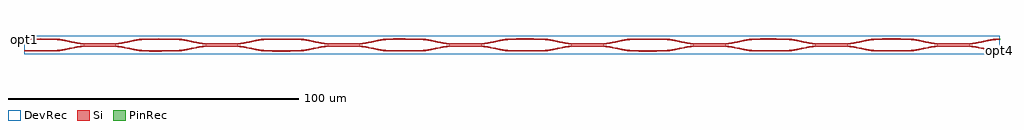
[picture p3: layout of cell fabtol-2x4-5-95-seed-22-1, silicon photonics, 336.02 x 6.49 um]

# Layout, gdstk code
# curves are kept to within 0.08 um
import gdstk
lib = gdstk.Library(unit=1e-6, precision=1e-09)
def R(c, l, rs):  # rectangles x0, y0, x1, y1
    for r in rs: c.add(gdstk.rectangle(r[:2], r[2:], *l))
def P(c, l, *ps):  # polygons
    for p in ps: c.add(gdstk.Polygon(p, *l))
Si = (1, 0)
PinRec = (1, 10)
DevRec = (68, 0)

layer_3_0_phase_sec_3_31 = lib.new_cell('layer-3_0_phase_sec_3$31')
P(layer_3_0_phase_sec_3_31, Si, [(2.187,-0.231),(0,-0.225),(0,0.225),(10,0.225),(10,-0.225)])

layer_3_0_phase_sec_2_31 = lib.new_cell('layer-3_0_phase_sec_2$31')
P(layer_3_0_phase_sec_2_31, Si, [(1.555,-0.248),(0,-0.225),(0,0.225),(10,0.225),(10,-0.225)])

layer_3_0_phase_sec_1_31 = lib.new_cell('layer-3_0_phase_sec_1$31')
P(layer_3_0_phase_sec_1_31, Si, [(5.67,-0.229),(0,-0.225),(0,0.225),(10,0.225),(10,-0.225)])

layer_3_0_phase_sec_0_31 = lib.new_cell('layer-3_0_phase_sec_0$31')
P(layer_3_0_phase_sec_0_31, Si, [(4.19,-0.249),(0,-0.225),(0,0.225),(10,0.225),(10,-0.225)])

layer_2_0_phase_sec_0_31 = lib.new_cell('layer-2_0_phase_sec_0$31')
P(layer_2_0_phase_sec_0_31, Si, [(6.013,-0.248),(0,-0.225),(0,0.225),(10,0.225),(10,-0.225)])

layer_0_0_phase_sec_0_31 = lib.new_cell('layer-0_0_phase_sec_0$31')
P(layer_0_0_phase_sec_0_31, Si, [(5.747,-0.241),(0,-0.225),(0,0.225),(10,0.225),(10,-0.225)])

layer_0_0_phase_sec_1_31 = lib.new_cell('layer-0_0_phase_sec_1$31')
P(layer_0_0_phase_sec_1_31, Si, [(2.104,-0.229),(0,-0.225),(0,0.225),(10,0.225),(10,-0.225)])

dc_arm_down_31 = lib.new_cell('dc_arm_down$31')
R(dc_arm_down_31, Si, [(12,-0.55,20,-0.1)])
P(dc_arm_down_31, Si, [(32,-2.225),(30.861,-2.188),(29.344,-2.033),(22.966,-0.793),(21.481,-0.613),(20,-0.55),(20,-0.1),(21.139,-0.137),(22.656,-0.292),(29.034,-1.532),(30.519,-1.712),(32,-1.775)],
  [(0,-2.225),(0,-1.775),(1.481,-1.712),(2.966,-1.532),(9.344,-0.292),(10.861,-0.137),(12,-0.1),(12,-0.55),(10.519,-0.613),(9.034,-0.793),(2.656,-2.033),(1.139,-2.188)])

dc_arm_up_31 = lib.new_cell('dc_arm_up$31')
R(dc_arm_up_31, Si, [(12,0.1,20,0.55)])
P(dc_arm_up_31, Si, [(20,0.1),(20,0.55),(21.481,0.613),(22.966,0.793),(29.344,2.033),(30.861,2.188),(32,2.225),(32,1.775),(30.519,1.712),(29.034,1.532),(22.656,0.292),(21.139,0.137)],
  [(12,0.1),(10.861,0.137),(9.344,0.292),(2.966,1.532),(1.481,1.712),(0,1.775),(0,2.225),(1.139,2.188),(2.656,2.033),(9.034,0.793),(10.519,0.613),(12,0.55)])

dc_31 = lib.new_cell('dc$31')
dc_31.add(gdstk.Reference(dc_arm_down_31, (0,0)))
dc_31.add(gdstk.Reference(dc_arm_up_31, (0,0)))

layer_0_0_phase_sec_2_31 = lib.new_cell('layer-0_0_phase_sec_2$31')
P(layer_0_0_phase_sec_2_31, Si, [(4.317,-0.24),(0,-0.225),(0,0.225),(10,0.225),(10,-0.225)])

layer_0_0_phase_sec_3_31 = lib.new_cell('layer-0_0_phase_sec_3$31')
P(layer_0_0_phase_sec_3_31, Si, [(1.088,-0.239),(0,-0.225),(0,0.225),(10,0.225),(10,-0.225)])

layer_1_0_phase_sec_0_31 = lib.new_cell('layer-1_0_phase_sec_0$31')
P(layer_1_0_phase_sec_0_31, Si, [(7.041,-0.236),(0,-0.225),(0,0.225),(10,0.225),(10,-0.225)])

layer_2_0_phase_sec_1_31 = lib.new_cell('layer-2_0_phase_sec_1$31')
P(layer_2_0_phase_sec_1_31, Si, [(1.065,-0.232),(0,-0.225),(0,0.225),(10,0.225),(10,-0.225)])

layer_1_0_phase_sec_1_31 = lib.new_cell('layer-1_0_phase_sec_1$31')
P(layer_1_0_phase_sec_1_31, Si, [(4.561,-0.245),(0,-0.225),(0,0.225),(10,0.225),(10,-0.225)])

layer_2_0_phase_sec_2_31 = lib.new_cell('layer-2_0_phase_sec_2$31')
P(layer_2_0_phase_sec_2_31, Si, [(4.448,-0.236),(0,-0.225),(0,0.225),(10,0.225),(10,-0.225)])

layer_1_0_phase_sec_2_31 = lib.new_cell('layer-1_0_phase_sec_2$31')
P(layer_1_0_phase_sec_2_31, Si, [(5.272,-0.246),(0,-0.225),(0,0.225),(10,0.225),(10,-0.225)])

layer_2_0_phase_sec_3_31 = lib.new_cell('layer-2_0_phase_sec_3$31')
P(layer_2_0_phase_sec_3_31, Si, [(4.735,-0.243),(0,-0.225),(0,0.225),(10,0.225),(10,-0.225)])

layer_1_0_phase_sec_3_31 = lib.new_cell('layer-1_0_phase_sec_3$31')
P(layer_1_0_phase_sec_3_31, Si, [(2.25,-0.232),(0,-0.225),(0,0.225),(10,0.225),(10,-0.225)])

fabtol_2x4_5_95_seed_22_ = lib.new_cell('fabtol-2x4-5-95-seed-22-1')
R(fabtol_2x4_5_95_seed_22_, DevRec, [(0,-1,336,5.494)])
fabtol_2x4_5_95_seed_22_.add(gdstk.FlexPath([(335.99,0.245),(336.01,0.245)], 0.45, ends="flush", simple_path=True, layer=1, datatype=10))  # PinRec
fabtol_2x4_5_95_seed_22_.add(gdstk.FlexPath([(335.99,4.245),(336.01,4.245)], 0.45, ends="flush", simple_path=True, layer=1, datatype=10))  # PinRec
fabtol_2x4_5_95_seed_22_.add(gdstk.FlexPath([(0.01,4.245),(-0.01,4.245)], 0.45, ends="flush", simple_path=True, layer=1, datatype=10))  # PinRec
fabtol_2x4_5_95_seed_22_.add(gdstk.Reference(layer_3_0_phase_sec_3_31, (294,0.245)))
fabtol_2x4_5_95_seed_22_.add(gdstk.Reference(layer_3_0_phase_sec_2_31, (294,4.245)))
fabtol_2x4_5_95_seed_22_.add(gdstk.Reference(layer_3_0_phase_sec_1_31, (252,0.245)))
fabtol_2x4_5_95_seed_22_.add(gdstk.Reference(layer_3_0_phase_sec_0_31, (252,4.245)))
fabtol_2x4_5_95_seed_22_.add(gdstk.Reference(layer_2_0_phase_sec_0_31, (168,4.245)))
fabtol_2x4_5_95_seed_22_.add(gdstk.Reference(layer_0_0_phase_sec_0_31, (0,4.245)))
fabtol_2x4_5_95_seed_22_.add(gdstk.Reference(layer_0_0_phase_sec_1_31, (0,0.245)))
fabtol_2x4_5_95_seed_22_.add(gdstk.Reference(dc_31, (10,2.245)))
fabtol_2x4_5_95_seed_22_.add(gdstk.Reference(dc_31, (52,2.245)))
fabtol_2x4_5_95_seed_22_.add(gdstk.Reference(dc_31, (94,2.245)))
fabtol_2x4_5_95_seed_22_.add(gdstk.Reference(dc_31, (136,2.245)))
fabtol_2x4_5_95_seed_22_.add(gdstk.Reference(dc_31, (178,2.245)))
fabtol_2x4_5_95_seed_22_.add(gdstk.Reference(dc_31, (220,2.245)))
fabtol_2x4_5_95_seed_22_.add(gdstk.Reference(dc_31, (262,2.245)))
fabtol_2x4_5_95_seed_22_.add(gdstk.Reference(dc_31, (304,2.245)))
fabtol_2x4_5_95_seed_22_.add(gdstk.Reference(layer_0_0_phase_sec_2_31, (42,4.245)))
fabtol_2x4_5_95_seed_22_.add(gdstk.Reference(layer_0_0_phase_sec_3_31, (42,0.245)))
fabtol_2x4_5_95_seed_22_.add(gdstk.Reference(layer_1_0_phase_sec_0_31, (84,4.245)))
fabtol_2x4_5_95_seed_22_.add(gdstk.Reference(layer_2_0_phase_sec_1_31, (168,0.245)))
fabtol_2x4_5_95_seed_22_.add(gdstk.Reference(layer_1_0_phase_sec_1_31, (84,0.245)))
fabtol_2x4_5_95_seed_22_.add(gdstk.Reference(layer_2_0_phase_sec_2_31, (210,4.245)))
fabtol_2x4_5_95_seed_22_.add(gdstk.Reference(layer_1_0_phase_sec_2_31, (126,4.245)))
fabtol_2x4_5_95_seed_22_.add(gdstk.Reference(layer_2_0_phase_sec_3_31, (210,0.245)))
fabtol_2x4_5_95_seed_22_.add(gdstk.Reference(layer_1_0_phase_sec_3_31, (126,0.245)))
fabtol_2x4_5_95_seed_22_.add(gdstk.Label('opt4', (336,0.245), layer=1, texttype=10))
fabtol_2x4_5_95_seed_22_.add(gdstk.Label('opt3', (336,4.245), layer=1, texttype=10))
fabtol_2x4_5_95_seed_22_.add(gdstk.Label('opt1', (0,4.245), layer=1, texttype=10))

lib.write_gds('fabtol-2x4-5-95-seed-22-1.gds')
